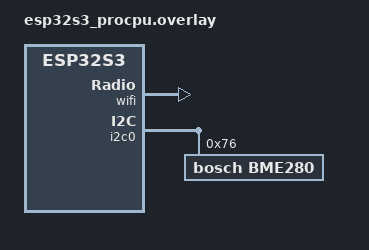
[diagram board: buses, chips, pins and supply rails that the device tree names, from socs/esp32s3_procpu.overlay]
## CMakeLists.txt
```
# SPDX-License-Identifier: Apache-2.0

cmake_minimum_required(VERSION 3.20.0)
find_package(Zephyr REQUIRED HINTS $ENV{ZEPHYR_BASE})
project(tempreature_node)

# Add common libraries source files and public headers
get_filename_component(COMMON_DIR ${CMAKE_CURRENT_SOURCE_DIR}/../../common ABSOLUTE)
zephyr_include_directories(${COMMON_DIR}/include)
FILE(GLOB common_sources ${COMMON_DIR}/*.c)

# Add app source files
FILE(GLOB app_sources src/*.c)

target_sources(app PRIVATE ${app_sources} ${common_sources})

target_include_directories(app PRIVATE ${ZEPHYR_BASE}/subsys/net/ip)
```

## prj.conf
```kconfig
# Increase stack memory to avoid crashes
CONFIG_MAIN_STACK_SIZE=4096

# Networking config
CONFIG_NETWORKING=y
CONFIG_NET_IPV4=y
CONFIG_NET_IPV6=y

# Get IPv4 address from DHCP
CONFIG_NET_DHCPV4=y
CONFIG_NET_CONFIG_AUTO_INIT=n
CONFIG_NET_MGMT=y
CONFIG_NET_MGMT_EVENT=y

# Network debug config
CONFIG_NET_LOG=y

# Enable Ethernet (required for WiFi)
CONFIG_NET_L2_ETHERNET=y

######################
# TEMPERATURE SENSOR #
######################
CONFIG_SENSOR=y
CONFIG_SENSOR_ASYNC_API=y
CONFIG_SENSOR_LOG_LEVEL_DBG=y

#################
# CoAP protocol #
#################
CONFIG_NET_SOCKETS=y
CONFIG_ZVFS_POLL_MAX=4
CONFIG_POSIX_API=y
CONFIG_NET_CONFIG_SETTINGS=y
CONFIG_NET_CONFIG_PEER_IPV4_ADDR="192.168.1.18"

CONFIG_NET_UDP=y
CONFIG_COAP=y
```

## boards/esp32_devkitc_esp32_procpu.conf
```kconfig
CONFIG_WIFI=y
CONFIG_ESP32_WIFI_STA_AUTO_DHCPV4=y

CONFIG_NET_BUF_RX_COUNT=32
CONFIG_NET_BUF_TX_COUNT=32
CONFIG_NET_PKT_RX_COUNT=16
CONFIG_NET_PKT_TX_COUNT=16

# Use system heap (instead of runtime) for WiFi
CONFIG_ESP_WIFI_HEAP_SYSTEM=y
CONFIG_HEAP_MEM_POOL_SIZE=65536

CONFIG_NET_L2_ETHERNET=y

CONFIG_I2C=y
CONFIG_GPIO=y
CONFIG_ESP32_USE_UNSUPPORTED_REVISION=y
```

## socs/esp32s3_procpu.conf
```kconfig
CONFIG_WIFI=y
CONFIG_ESP32_WIFI_STA_AUTO_DHCPV4=y

CONFIG_NET_BUF_RX_COUNT=32
CONFIG_NET_BUF_TX_COUNT=32
CONFIG_NET_PKT_RX_COUNT=16
CONFIG_NET_PKT_TX_COUNT=16

# Use system heap (instead of runtime) for WiFi
CONFIG_ESP_WIFI_HEAP_SYSTEM=y
CONFIG_HEAP_MEM_POOL_SIZE=65536

CONFIG_NET_L2_ETHERNET=y


CONFIG_I2C=y
CONFIG_POWER_DOMAIN=y
CONFIG_GPIO=y
#CONFIG_PM_DEVICE=y
#CONFIG_PM_DEVICE_POWER_DOMAIN=y
```

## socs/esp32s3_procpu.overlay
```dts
&wifi {
	status = "okay";
};

&i2c0 {
    status = "okay";
	bme280: bme280@76 {
		compatible = "bosch,bme280";
		reg = <0x76>;
	};
};
```

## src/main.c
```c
/**
 * @file main.c
 * @author Jerónimo Agulló Ocampos (jeronimoagullo@jeroagullo.com)
 * @brief 	This app creates a Temperature Node for ZephyrHomeHub project
 * @version 1.0
 * @date 2025-11-11
 *
 * @copyright Copyright (c) jeroagullo 2025
 *
 */

#include <zephyr/kernel.h>

#include "config_network.h"
#include "sensor_handler.h"
#include "coap_client.h"

#define LOG_LEVEL CONFIG_LOG_DEFAULT_LEVEL
#include <zephyr/logging/log.h>
LOG_MODULE_REGISTER(app, LOG_LEVEL_DBG);

int main(void)
{
	int ret = 0;

	LOG_DBG("Start Temperature Node");

    // Initialize Network
    network_init();

#ifdef CONFIG_WIFI
    // Connect to the WiFi network (blocking)
    ret = wifi_connect(WIFI_SSID, WIFI_PASSWORD);
    if (ret < 0) {
        LOG_INF("Error (%d): WiFi connection failed\r\n", ret);
        return 0;
    }
#endif

    // Wait to receive an IP address (blocking)
    wait_for_ip_addr();

    setup_sensor();

    ret = start_coap_client();
    if (ret < 0){
        LOG_ERR("Error starting CoAP client %d", ret);
        goto quit;
    }

    LOG_INF("Started CoAP client");

    
    while(1){
        ret = send_sensor_value_and_wait_for_reply();
        if (ret < 0) {
            goto quit;
        }
		k_msleep(10 * MSEC_PER_SEC);
    }

	LOG_DBG("Done");
	return 0;

quit:
    stop_coap_client();
	LOG_ERR("quit");

	return 0;
}
```

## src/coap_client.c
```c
/*
 * Copyright (c) 2018 Intel Corporation
 *
 * SPDX-License-Identifier: Apache-2.0
 */

#include <zephyr/logging/log.h>
LOG_MODULE_REGISTER(coap_client, LOG_LEVEL_DBG);

#include <errno.h>
#include <zephyr/sys/byteorder.h>
#include <zephyr/kernel.h>

#include <zephyr/net/socket.h>
#include <zephyr/net/net_mgmt.h>
#include <zephyr/net/net_ip.h>
#include <zephyr/net/udp.h>
#include <zephyr/net/coap.h>

#include "net_private.h"

#include "sensor_handler.h"
#include "utils.h"

#define PEER_PORT 5683
#define MAX_COAP_MSG_LEN 256

/* CoAP socket fd */
static int sock;

struct pollfd fds[1];
static int nfds;

/* CoAP Options */
static const char * const temperature_path[] = { "temp-node", NULL };

static void wait(void)
{
	if (poll(fds, nfds, -1) < 0) {
		LOG_ERR("Error in poll:%d", errno);
	}
}

static void prepare_fds(void)
{
	fds[nfds].fd = sock;
	fds[nfds].events = POLLIN;
	nfds++;
}

int start_coap_client(void)
{
	int ret = 0;
	struct sockaddr_in addr;

	addr.sin_family = AF_INET;
	addr.sin_port = htons(PEER_PORT);
	//addr.sin_scope_id = 0U;

	inet_pton(AF_INET, CONFIG_NET_CONFIG_PEER_IPV4_ADDR,
		  &addr.sin_addr);

	sock = socket(addr.sin_family, SOCK_DGRAM, IPPROTO_UDP);
	if (sock < 0) {
		LOG_ERR("Failed to create UDP socket %d", errno);
		return -errno;
	}

	ret = connect(sock, (struct sockaddr *)&addr, sizeof(addr));
	if (ret < 0) {
		LOG_ERR("Cannot connect to UDP remote : %d", errno);
		return -errno;
	}

	prepare_fds();

	return 0;
}

static int process_simple_coap_reply(void)
{
	struct coap_packet reply;
	uint8_t *data;
	int rcvd;
	int ret;

	wait();

	data = (uint8_t *)k_malloc(MAX_COAP_MSG_LEN);
	if (!data) {
		return -ENOMEM;
	}

	rcvd = recv(sock, data, MAX_COAP_MSG_LEN, MSG_DONTWAIT);
	if (rcvd == 0) {
		ret = -EIO;
		goto end;
	}

	if (rcvd < 0) {
		if (errno == EAGAIN || errno == EWOULDBLOCK) {
			ret = 0;
		} else {
			ret = -errno;
		}

		goto end;
	}

	net_hexdump("Response", data, rcvd);

	ret = coap_packet_parse(&reply, data, rcvd, NULL, 0);
	if (ret < 0) {
		LOG_ERR("Invalid data received");
	}

end:
	k_free(data);

	return ret;
}

int send_sensor_value_and_wait_for_reply(void)
{
	uint8_t payload[10] = "";
	char node_id[9]; // 8 chars + null terminator
	struct coap_packet request;
	uint8_t *data;
	int ret;
	const char * const *p;

	// Get latest sensor value (temperature and humidity)
	get_latest_sensor_value_char(payload);

	// Get node id (device MAC)
	ret = get_node_id(node_id, sizeof(node_id));
    if (ret < 0) {
        LOG_ERR("Failed to get node ID");
        return ret;
    }

	// Init data buffer for coap message
	data = (uint8_t *)k_malloc(MAX_COAP_MSG_LEN);
	if (!data) {
		return -ENOMEM;
	}

	// Init coap packet as post and corresponding message id and coap type/version
	ret = coap_packet_init(&request, data, MAX_COAP_MSG_LEN,
			     COAP_VERSION_1, COAP_TYPE_CON,
			     COAP_TOKEN_MAX_LEN, coap_next_token(),
			     COAP_METHOD_POST, coap_next_id());
	if (ret < 0) {
		LOG_ERR("Failed to init CoAP message");
		goto end;
	}

	// Add URI path: "/temperature_node"
	for (p = temperature_path; p && *p; p++) {
		ret = coap_packet_append_option(&request, COAP_OPTION_URI_PATH,
					      *p, strlen(*p));
		if (ret < 0) {
			LOG_ERR("Unable add option to request");
			goto end;
		}
	}

	// Add URI query with node ID: ?node_id=ABCD1234
    char query_param[32];
    snprintf(query_param, sizeof(query_param), "id=%s", node_id);
    ret = coap_packet_append_option(&request, COAP_OPTION_URI_QUERY,
                                   query_param, strlen(query_param));
    if (ret < 0) {
        LOG_ERR("Failed to add URI query: %d", ret);
        return ret;
    }

	// Add payload marker and sensor data
	ret = coap_packet_append_payload_marker(&request);
	if (ret < 0) {
		LOG_ERR("Unable to append payload marker");
		goto end;
	}

	ret = coap_packet_append_payload(&request, (uint8_t *)payload,
						sizeof(payload) - 1);
	if (ret < 0) {
		LOG_ERR("Not able to append payload");
		goto end;
	}

	// Log the message in serial terminal
	net_hexdump("Request", request.data, request.offset);

	// Send the CoAP message
	ret = send(sock, request.data, request.offset, 0);

	ret = process_simple_coap_reply();
	if (ret < 0) {
		return ret;
	}

end:
	k_free(data);

	return ret;
}

int stop_coap_client(void)
{
	(void)close(sock);

	return 0;
}
```

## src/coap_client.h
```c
/**
 * @brief CoAP client for ZephyrHomeHub project
 * @defgroup Config Net library 
 */

/**
 * @file coap_client.h
 * @author Jeronimo Agullo (jeronimoagullo97@gmail.com)
 * @brief This library implements a CoAP client.
 * @version 2.0
 * @date 2022-01-11
 * 
 * @copyright Copyright (c) 2022
 * 
 * @addtogroup ConfigNetLib
 * @{
 */
#ifndef __COAP_CLIENT_H__
#define __COAP_CLIENT_H__


int start_coap_client(void);
int stop_coap_client(void);
int send_sensor_value_and_wait_for_reply(void);

/**
 * @}
 */
#endif /*__COAP_CLIENT_H__*/
```

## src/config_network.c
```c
#include <string.h>
#include <zephyr/kernel.h>

#include <zephyr/net/net_if.h>
#include <zephyr/net/net_mgmt.h>

#ifdef CONFIG_WIFI
#include <zephyr/net/wifi.h>
#include <zephyr/net/wifi_mgmt.h>
#endif

#include <zephyr/logging/log.h>
LOG_MODULE_REGISTER(config_network, LOG_LEVEL_DBG);


static struct net_mgmt_event_callback ipv4_cb;
static K_SEM_DEFINE(sem_ipv4, 0, 1);

#ifdef CONFIG_WIFI
static struct net_mgmt_event_callback wifi_cb;
static K_SEM_DEFINE(sem_wifi, 0, 1);

// Called when the WiFi is connected
static void on_wifi_connection_event(struct net_mgmt_event_callback *cb,
                                     uint64_t mgmt_event,
                                     struct net_if *iface)
{
    const struct wifi_status *status = (const struct wifi_status *)cb->info;

    if (mgmt_event == NET_EVENT_WIFI_CONNECT_RESULT) {
        if (status->status) {
            LOG_ERR("Error (%d): Connection request failed", status->status);
        } else {
            LOG_INF("Connected!");
            k_sem_give(&sem_wifi);
        }
    } else if (mgmt_event == NET_EVENT_WIFI_DISCONNECT_RESULT) {
        if (status->status) {
            LOG_ERR("Error (%d): Disconnection request failed", status->status);
        } else {
            LOG_INF("Disconnected");
            k_sem_take(&sem_wifi, K_NO_WAIT);
        }
    }
}

#endif

// Event handler for WiFi management events
static void on_ipv4_obtained(struct net_mgmt_event_callback *cb,
                             uint64_t mgmt_event,
                             struct net_if *iface)
{
    // Signal that the IP address has been obtained
    if (mgmt_event == NET_EVENT_IPV4_ADDR_ADD) {
        k_sem_give(&sem_ipv4);
    }
}

// Initialize the WiFi event callbacks
void network_init(void)
{

    net_mgmt_init_event_callback(&ipv4_cb,
                                 on_ipv4_obtained,
                                 NET_EVENT_IPV4_ADDR_ADD);
    net_mgmt_add_event_callback(&ipv4_cb);

#ifdef CONFIG_WIFI
    net_mgmt_init_event_callback(&wifi_cb,
                                 on_wifi_connection_event,
                                 NET_EVENT_WIFI_CONNECT_RESULT | NET_EVENT_WIFI_DISCONNECT_RESULT);
    net_mgmt_add_event_callback(&wifi_cb);
#endif

}

// Wait for IP address (blocking)
void wait_for_ip_addr(void)
{
    struct net_if *iface;
    char ip_addr[NET_IPV4_ADDR_LEN];
    char gw_addr[NET_IPV4_ADDR_LEN];

    // Get interface
    iface = net_if_get_default();

    // Wait for the IPv4 address to be obtained
    k_sem_take(&sem_ipv4, K_FOREVER);

    // Get the IP address
    memset(ip_addr, 0, sizeof(ip_addr));
    if (net_addr_ntop(AF_INET,
                      &iface->config.ip.ipv4->unicast[0].ipv4.address.in_addr,
                      ip_addr,
                      sizeof(ip_addr)) == NULL) {
        LOG_ERR("Error: Could not convert IP address to string");
    }

    // Get the gateway address
    memset(gw_addr, 0, sizeof(gw_addr));
    if (net_addr_ntop(AF_INET,
                      &iface->config.ip.ipv4->gw,
                      gw_addr,
                      sizeof(gw_addr)) == NULL) {
        LOG_ERR("Error: Could not convert gateway address to string");
    }

    // Print the WiFi status
#ifdef CONFIG_WIFI
    struct wifi_iface_status status;
    // Get the WiFi status
    if (net_mgmt(NET_REQUEST_WIFI_IFACE_STATUS,
                 iface,
                 &status,
                 sizeof(struct wifi_iface_status))) {
        LOG_ERR("Error: WiFi status request failed");
    }

    LOG_INF("WiFi status:");
    if (status.state >= WIFI_STATE_ASSOCIATED) {
        LOG_INF("  SSID: %-32s", status.ssid);
        LOG_INF("  Band: %s", wifi_band_txt(status.band));
        LOG_INF("  Channel: %d", status.channel);
        LOG_INF("  Security: %s", wifi_security_txt(status.security));
        LOG_INF("  IP address: %s", ip_addr);
        LOG_INF("  Gateway: %s", gw_addr);
    }
#else
    LOG_INF("Network status:");
    LOG_INF("  IP address: %s", ip_addr);
    LOG_INF("  Gateway: %s", gw_addr);
#endif
}

#ifdef CONFIG_WIFI

// Connect to the WiFi network (blocking)
int wifi_connect(char *ssid, char *psk)
{
    int ret;
    struct net_if *iface;
    struct wifi_connect_req_params params;

    // Get the default networking interface
    iface = net_if_get_default();

    // Fill in the connection request parameters
    params.ssid = (const uint8_t *)ssid;
    params.ssid_length = strlen(ssid);
    params.psk = (const uint8_t *)psk;
    params.psk_length = strlen(psk);
    params.security = WIFI_SECURITY_TYPE_PSK;
    params.band = WIFI_FREQ_BAND_UNKNOWN;
    params.channel = WIFI_CHANNEL_ANY;
    params.mfp = WIFI_MFP_OPTIONAL;

    // Connect to the WiFi network
    ret = net_mgmt(NET_REQUEST_WIFI_CONNECT,
                   iface,
                   &params,
                   sizeof(params));
	
	// start dhcp
	net_dhcpv4_start(iface);
	
	LOG_INF("Connecting to WIFI...");

    // Wait for the connection to complete
    k_sem_take(&sem_wifi, K_FOREVER);

    return ret;
}


// Disconnect from the WiFi network
int wifi_disconnect(void)
{
    int ret;
    struct net_if *iface = net_if_get_default();

    ret = net_mgmt(NET_REQUEST_WIFI_DISCONNECT, iface, NULL, 0);

    return ret;
}

#endif
```

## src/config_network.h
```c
/**
 * @brief Config Net library for Zephyr project.
 * @defgroup Config Net library 
 */

/**
 * @file config_network.h
 * @author Jeronimo Agullo (jeronimoagullo97@gmail.com)
 * @brief This library handles the Net (ethernet or WIFI) connection.
 * @version 2.0
 * @date 2022-01-11
 * 
 * @copyright Copyright (c) 2022
 * 
 * @addtogroup ConfigNetLib
 * @{
 */
#ifndef __CONFIG_NET_H__
#define __CONFIG_NET_H__

#define CONFIG_NET_WIFI_LENGTH 100
#define WIFI_SSID       "LaMadriguera"
#define WIFI_PASSWORD   "1dos3Conejito"

// Network prototypes
void network_init(void);
void wait_for_ip_addr(void);

// WIFI prototypes
int wifi_connect(char *ssid, char *psk);
int wifi_disconnect(void);

/**
 * @}
 */
#endif /*__CONFIG_NET_H__*/
```

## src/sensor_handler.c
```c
#include <zephyr/kernel.h>
#include <zephyr/device.h>
#include <zephyr/devicetree.h>
#include <zephyr/drivers/sensor.h>
#include <zephyr/drivers/sensor_data_types.h>
#include <zephyr/rtio/rtio.h>

#include <zephyr/logging/log.h>
LOG_MODULE_REGISTER(config_sensor, LOG_LEVEL_DBG);

#include "sensor_handler.h"


K_THREAD_STACK_DEFINE(thread_sensor_stack_area, THREAD_SENSOR_STACK_SIZE);
struct k_thread thread_sensor_data;

//truct SensorValues sensor_fifo_values[BUFLEN];
struct SensorValues sensor_last_value;

const struct device *sensor = NULL;


SENSOR_DT_READ_IODEV(iodev, DT_COMPAT_GET_ANY_STATUS_OKAY(bosch_bme280),
		{SENSOR_CHAN_AMBIENT_TEMP, 0},
		{SENSOR_CHAN_HUMIDITY, 0},
		{SENSOR_CHAN_PRESS, 0});

RTIO_DEFINE(ctx_sensor, 1, 1);

/**
 * @brief Construct a new k timer define object
 * This timer sets the sample rate of the sensor	
 */
K_TIMER_DEFINE(sensor_timer, NULL, NULL);
#define SAMPLE_TIME_MS 200

void read_sensor_values()
{
	int rc = 0;
	struct SensorValues;

	// Initialization of the timer for sensor sampling
	k_timer_init(&sensor_timer, NULL, NULL);

	LOG_INF("------> Starting read_sensor_values thread");

	while (1) {
		uint8_t buf[128];

		rc = sensor_read(&iodev, &ctx_sensor, buf, 128);

		if (rc != 0) {
			LOG_ERR("%s: sensor_read() failed: %d\n", sensor->name, rc);
			return;
		}

		const struct sensor_decoder_api *decoder;

		rc = sensor_get_decoder(sensor, &decoder);

		if (rc != 0) {
			LOG_ERR("%s: sensor_get_decode() failed: %d\n", sensor->name, rc);
			return;
		}

		uint32_t temp_fit = 0;
		struct sensor_q31_data temp_data = {0};

		decoder->decode(buf,
			(struct sensor_chan_spec) {SENSOR_CHAN_AMBIENT_TEMP, 0},
			&temp_fit, 1, &temp_data);

		uint32_t hum_fit = 0;
		struct sensor_q31_data hum_data = {0};

		decoder->decode(buf,
				(struct sensor_chan_spec) {SENSOR_CHAN_HUMIDITY, 0},
				&hum_fit, 1, &hum_data);
		
		LOG_INF("temp: %s%d.%d; humidity: %s%d.%d\n",
			PRIq_arg(temp_data.readings[0].temperature, 6, temp_data.shift),
			PRIq_arg(hum_data.readings[0].humidity, 6, hum_data.shift));

		
		sensor_last_value.temperature = temp_data;
		sensor_last_value.humidity = hum_data;

		/*if(index >= BUFLEN){
			index = 0;
		}*/

		/* Timer to match the sample rate */
		k_timer_start(&sensor_timer, K_MSEC(SAMPLE_TIME_MS), K_NO_WAIT);
		k_timer_status_sync(&sensor_timer);
	}

	return;
}

struct SensorValues get_latest_sensor_value()
{
	return sensor_last_value;
}

void get_latest_sensor_value_char(uint8_t* payload)
{

	sprintf(payload, "%s%d.%d",
		PRIq_arg(sensor_last_value.temperature.readings[0].temperature, 2, sensor_last_value.temperature.shift));

	return;
}

int setup_sensor()
{
	
	sensor = DEVICE_DT_GET_ANY(bosch_bme280);

	if (sensor == NULL) {
		/* No such node, or the node does not have status "okay". */
		LOG_ERR("\nError: no device found.\n");
		return 0;
	}

	if (!device_is_ready(sensor)) {
		LOG_ERR("\nError: Device \"%s\" is not ready; "
		       "check the driver initialization logs for errors.\n",
		       sensor->name);
		return 0;
	}

	LOG_INF("Found sensor \"%s\"", sensor->name);

	LOG_INF("Starting sensor thread");
	k_tid_t thread_sensor_id = k_thread_create(&thread_sensor_data, thread_sensor_stack_area,
							K_THREAD_STACK_SIZEOF(thread_sensor_stack_area),
							read_sensor_values,
							NULL, NULL, NULL,
							THREAD_SENSOR_PRIORITY, 0, K_NO_WAIT);

	k_thread_start(thread_sensor_id);

	return 0;
}
```

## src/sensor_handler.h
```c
#ifndef __CONFIG_TEMPERATURE_SENSOR_H__
#define __CONFIG_TEMPERATURE_SENSOR_H__

#include <zephyr/drivers/sensor_data_types.h>

#define THREAD_SENSOR_STACK_SIZE 1000
#define THREAD_SENSOR_PRIORITY -1

// vector of 20 values
#define BUFLEN 20

struct SensorValues {
    struct sensor_q31_data temperature;
    struct sensor_q31_data humidity;
};

//extern struct SensorValues sensor_fifo_values[BUFLEN];
//extern struct SensorValues sensor_last_value;

int setup_sensor(void);
struct SensorValues get_latest_sensor_value();
void get_latest_sensor_value_char(uint8_t* payload);

#endif /* __CONFIG_TEMPERATURE_SENSOR_H__ */
```
